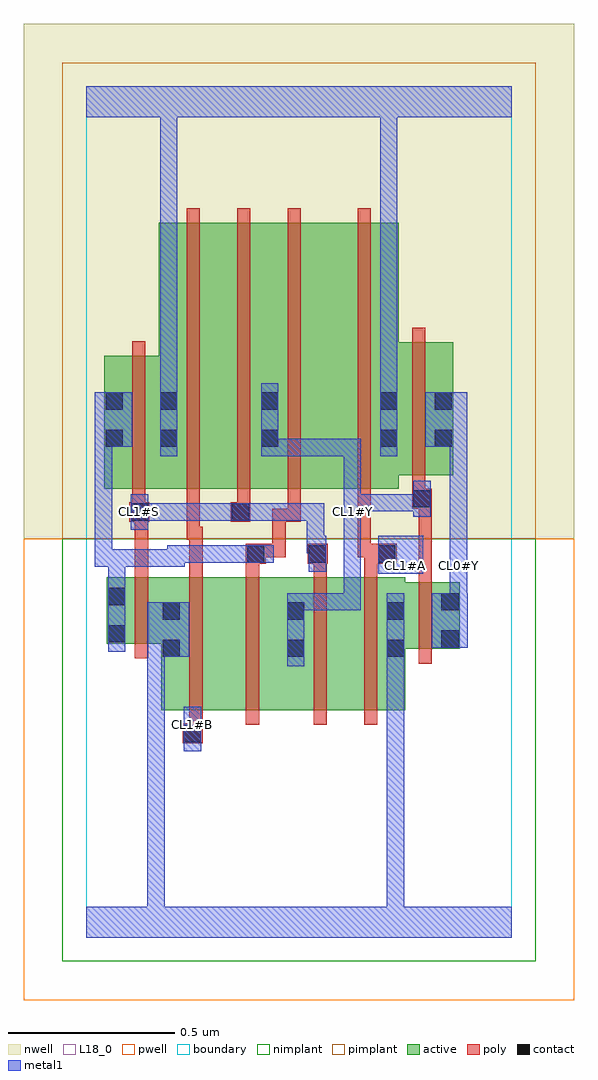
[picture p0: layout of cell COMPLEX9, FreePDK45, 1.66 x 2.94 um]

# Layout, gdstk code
import gdstk
lib = gdstk.Library(unit=1e-6, precision=1e-09)
def R(c, l, rs):  # rectangles x0, y0, x1, y1
    for r in rs: c.add(gdstk.rectangle(r[:2], r[2:], *l))
def A(c, l, x, y, w, h, nx, ny, dx, dy):  # array of equal rectangles
    R(c, l, [(x+i*dx, y+j*dy, x+i*dx+w, y+j*dy+h) for i in range(nx) for j in range(ny)])
active = (1, 0)
pwell = (2, 0)
nwell = (3, 0)
nimplant = (4, 0)
pimplant = (5, 0)
poly = (9, 0)
contact = (10, 0)
metal1 = (11, 0)
L18_0 = (18, 0)
boundary = (235, 0)

complex9 = lib.new_cell('COMPLEX9')
R(complex9, active, [(0.226,0.684,0.286,1.012), (0.226,0.684,0.424,1.084), (0.424,0.684,0.66,1.084), (0.6,0.684,0.78,1.084), (0.78,0.684,0.96,1.084), (0.9,0.684,0.96,1.012), (0.6,0.756,0.66,1.012), (0.9,0.868,1.124,1.068), (1.064,0.868,1.124,1.068), (0.062,0.884,0.122,1.084), (0.062,0.884,0.286,1.084), (0.054,1.35,0.278,1.75), (0.054,1.35,0.114,1.644), (0.218,1.35,0.398,2.15), (0.218,1.35,0.278,1.644), (0.398,1.35,0.582,2.15), (0.522,1.35,0.76,2.15), (0.522,1.35,0.582,2.044), (0.76,1.35,0.94,2.15), (0.88,1.39,0.94,1.644), (0.88,1.39,1.104,1.79), (1.044,1.39,1.104,1.644)])
R(complex9, pwell, [(-0.188,-0.188,1.468,1.2)])
R(complex9, nwell, [(-0.188,1.2,1.468,2.748)])
R(complex9, nimplant, [(-0.072,-0.072,1.352,1.2)])
R(complex9, pimplant, [(-0.072,1.2,1.352,2.632)])
A(complex9, poly, 0.302, 1.306, 0.04, 0.888, 3, 1, 0.152, 0)
R(complex9, poly, [(0.29,0.584,0.35,0.644), (0.31,0.604,0.35,0.68), (0.31,0.64,0.35,1.128), (0.48,0.64,0.52,1.128), (0.684,0.64,0.724,1.128), (0.836,0.64,0.876,1.128), (1,0.824,1.04,1.112), (0.146,0.84,0.186,1.128), (1,1.072,1.04,1.33), (0.146,1.088,0.186,1.29), (0.31,1.088,0.35,1.236), (0.48,1.088,0.52,1.164), (0.684,1.088,0.724,1.164), (0.836,1.088,0.876,1.164), (0.48,1.124,0.54,1.184), (0.666,1.124,0.726,1.184), (0.836,1.124,0.934,1.184), (0.5,1.144,0.6,1.184), (0.56,1.144,0.6,1.184), (0.56,1.144,0.6,1.29), (0.816,1.144,0.856,1.346), (0.816,1.144,0.876,1.184), (0.836,1.144,0.876,1.184), (0.302,1.196,0.342,1.346), (0.302,1.196,0.35,1.236), (0.31,1.196,0.35,1.236), (0.31,1.196,0.35,1.236), (0.13,1.25,0.19,1.31), (0.146,1.25,0.186,1.29), (0.146,1.25,0.186,1.29), (0.434,1.25,0.494,1.31), (0.56,1.25,0.6,1.29), (0.56,1.25,0.646,1.29), (0.606,1.25,0.646,1.29), (0.606,1.25,0.646,1.346), (0.138,1.27,0.178,1.346), (0.454,1.27,0.494,1.346), (0.98,1.29,1.04,1.35), (1,1.29,1.04,1.33), (1,1.29,1.04,1.33), (0.138,1.306,0.178,1.794), (0.816,1.306,0.856,2.194), (0.98,1.31,1.02,1.386), (0.98,1.346,1.02,1.834)])
R(complex9, contact, [(0.294,0.588,0.346,0.64), (0.23,0.844,0.282,0.896), (0.604,0.844,0.656,0.896), (0.904,0.844,0.956,0.896), (1.068,0.872,1.12,0.924), (0.066,0.888,0.118,0.94), (0.23,0.956,0.282,1.008), (0.604,0.956,0.656,1.008), (0.904,0.956,0.956,1.008), (1.068,0.984,1.12,1.036), (0.066,1,0.118,1.052), (0.484,1.128,0.536,1.18), (0.67,1.128,0.722,1.18), (0.878,1.128,0.93,1.18), (0.134,1.254,0.186,1.306), (0.438,1.254,0.49,1.306), (0.984,1.294,1.036,1.346), (0.058,1.476,0.11,1.528), (0.222,1.476,0.274,1.528), (0.526,1.476,0.578,1.528), (0.884,1.476,0.936,1.528), (1.048,1.476,1.1,1.528), (0.058,1.588,0.11,1.64), (0.222,1.588,0.274,1.64), (0.526,1.588,0.578,1.64), (0.884,1.588,0.936,1.64), (1.048,1.588,1.1,1.64)])
R(complex9, metal1, [(0,0,1.28,0.092), (0.184,0.04,0.236,0.092), (0.184,0.04,0.236,0.092), (0.184,0.04,0.236,0.092), (0.184,0.04,0.236,0.092), (0.184,0.04,0.236,0.092), (0.184,0.04,0.236,0.092), (0.184,0.04,0.236,0.092), (0.184,0.04,0.236,0.092), (0.184,0.04,0.236,0.092), (0.184,0.04,0.236,0.092), (0.184,0.04,0.236,0.896), (0.904,0.04,0.956,0.092), (0.904,0.04,0.956,0.092), (0.904,0.04,0.956,0.092), (0.904,0.04,0.956,0.092), (0.904,0.04,0.956,0.092), (0.904,0.04,0.956,0.092), (0.904,0.04,0.956,0.092), (0.904,0.04,0.956,0.092), (0.904,0.04,0.956,0.092), (0.904,0.04,0.956,0.092), (0.904,0.04,0.956,0.868), (0.294,0.56,0.346,0.694), (0.604,0.816,0.656,1.036), (0.904,0.816,0.956,0.868), (0.904,0.816,0.956,0.868), (0.904,0.816,0.956,1.036), (0.184,0.844,0.31,1.008), (0.184,0.844,0.236,0.896), (0.184,0.844,0.236,0.896), (0.066,0.86,0.118,1.08), (1.04,0.872,1.148,1.036), (0.604,0.984,0.674,1.036), (0.622,0.984,0.674,1.036), (0.622,0.984,0.826,1.036), (0.774,0.984,0.826,1.036), (0.774,0.984,0.826,1.278), (1.094,0.984,1.146,1.118), (0.066,1.028,0.118,1.168), (1.094,1.066,1.146,1.174), (0.878,1.094,1.014,1.208), (0.67,1.1,0.722,1.208), (0.026,1.116,0.118,1.168), (0.026,1.116,0.078,1.528), (0.066,1.116,0.118,1.168), (0.066,1.116,0.118,1.168), (0.066,1.116,0.296,1.168), (0.244,1.116,0.296,1.18), (1.094,1.122,1.146,1.528), (1.094,1.122,1.146,1.174), (1.094,1.122,1.146,1.174), (0.244,1.128,0.296,1.18), (0.244,1.128,0.296,1.18), (0.244,1.128,0.468,1.18), (0.416,1.128,0.468,1.18), (0.416,1.128,0.508,1.18), (0.456,1.128,0.564,1.18), (0.664,1.156,0.716,1.208), (0.664,1.156,0.722,1.208), (0.664,1.156,0.716,1.306), (0.134,1.226,0.186,1.334), (0.774,1.226,0.826,1.334), (0.134,1.254,0.296,1.306), (0.244,1.254,0.296,1.306), (0.244,1.254,0.296,1.306), (0.244,1.254,0.296,1.306), (0.244,1.254,0.462,1.306), (0.41,1.254,0.462,1.306), (0.41,1.254,0.462,1.306), (0.41,1.254,0.518,1.306), (0.466,1.254,0.716,1.306), (0.664,1.254,0.716,1.306), (0.984,1.266,1.036,1.374), (0.774,1.282,0.826,1.334), (0.774,1.282,0.826,1.334), (0.774,1.282,0.926,1.334), (0.774,1.282,0.826,1.5), (0.874,1.282,0.926,1.334), (0.874,1.282,0.936,1.334), (0.884,1.282,0.936,1.334), (0.884,1.282,1.036,1.334), (0.222,1.448,0.274,1.668), (0.526,1.448,0.578,1.668), (0.526,1.448,0.816,1.5), (0.764,1.448,0.816,1.5), (0.764,1.448,0.826,1.5), (0.774,1.448,0.826,1.5), (0.884,1.448,0.936,1.668), (0.026,1.476,0.078,1.528), (0.026,1.476,0.078,1.528), (0.026,1.476,0.138,1.64), (1.02,1.476,1.146,1.64), (0.222,1.616,0.274,1.668), (0.222,1.616,0.274,1.668), (0.222,1.616,0.274,1.668), (0.222,1.616,0.274,1.668), (0.222,1.616,0.274,1.668), (0.222,1.616,0.274,1.668), (0.222,1.616,0.274,1.668), (0.222,1.616,0.274,1.668), (0.222,1.616,0.274,2.52), (0.884,1.616,0.936,1.668), (0.884,1.616,0.936,1.668), (0.884,1.616,0.936,1.668), (0.884,1.616,0.936,1.668), (0.884,1.616,0.936,2.52), (0,2.468,1.28,2.56), (0.884,2.468,0.936,2.52), (0.884,2.468,0.936,2.52), (0.884,2.468,0.936,2.52), (0.884,2.468,0.936,2.52)])
R(complex9, L18_0, [(0,0,1.28,0.092), (0.184,0.04,0.236,0.092), (0.184,0.04,0.236,0.092), (0.184,0.04,0.236,0.092), (0.184,0.04,0.236,0.092), (0.184,0.04,0.236,0.092), (0.184,0.04,0.236,0.092), (0.184,0.04,0.236,0.092), (0.184,0.04,0.236,0.092), (0.184,0.04,0.236,0.092), (0.184,0.04,0.236,0.092), (0.184,0.04,0.236,0.896), (0.904,0.04,0.956,0.092), (0.904,0.04,0.956,0.092), (0.904,0.04,0.956,0.092), (0.904,0.04,0.956,0.092), (0.904,0.04,0.956,0.092), (0.904,0.04,0.956,0.092), (0.904,0.04,0.956,0.092), (0.904,0.04,0.956,0.092), (0.904,0.04,0.956,0.092), (0.904,0.04,0.956,0.092), (0.904,0.04,0.956,0.868), (0.294,0.56,0.346,0.694), (0.294,0.614,0.346,0.666), (0.604,0.816,0.656,1.036), (0.904,0.816,0.956,0.868), (0.904,0.816,0.956,0.868), (0.904,0.816,0.956,1.036), (0.184,0.844,0.236,0.896), (0.184,0.844,0.236,0.896), (0.184,0.844,0.31,1.008), (1.04,0.872,1.148,1.036), (0.604,0.984,0.674,1.036), (0.622,0.984,0.674,1.036), (0.622,0.984,0.826,1.036), (0.774,0.984,0.826,1.036), (0.774,0.984,0.826,1.278), (1.094,0.984,1.146,1.118), (1.094,1.066,1.146,1.174), (0.878,1.094,1.014,1.208), (0.934,1.094,0.986,1.146), (1.094,1.094,1.146,1.146), (0.67,1.1,0.722,1.208), (1.094,1.122,1.146,1.174), (1.094,1.122,1.146,1.174), (1.094,1.122,1.146,1.528), (0.664,1.156,0.716,1.208), (0.664,1.156,0.716,1.306), (0.664,1.156,0.722,1.208), (0.134,1.226,0.186,1.334), (0.774,1.226,0.826,1.334), (0.134,1.254,0.186,1.306), (0.134,1.254,0.296,1.306), (0.244,1.254,0.296,1.306), (0.244,1.254,0.296,1.306), (0.244,1.254,0.296,1.306), (0.244,1.254,0.462,1.306), (0.41,1.254,0.462,1.306), (0.41,1.254,0.462,1.306), (0.41,1.254,0.518,1.306), (0.466,1.254,0.716,1.306), (0.664,1.254,0.716,1.306), (0.774,1.254,0.826,1.306), (0.984,1.266,1.036,1.374), (0.774,1.282,0.826,1.334), (0.774,1.282,0.826,1.334), (0.774,1.282,0.826,1.5), (0.774,1.282,0.926,1.334), (0.874,1.282,0.926,1.334), (0.874,1.282,0.936,1.334), (0.884,1.282,0.936,1.334), (0.884,1.282,1.036,1.334), (0.222,1.448,0.274,1.668), (0.526,1.448,0.578,1.668), (0.526,1.448,0.816,1.5), (0.764,1.448,0.816,1.5), (0.764,1.448,0.826,1.5), (0.774,1.448,0.826,1.5), (0.884,1.448,0.936,1.668), (1.02,1.476,1.146,1.64), (0.222,1.616,0.274,1.668), (0.222,1.616,0.274,1.668), (0.222,1.616,0.274,1.668), (0.222,1.616,0.274,1.668), (0.222,1.616,0.274,1.668), (0.222,1.616,0.274,1.668), (0.222,1.616,0.274,1.668), (0.222,1.616,0.274,1.668), (0.222,1.616,0.274,2.52), (0.884,1.616,0.936,1.668), (0.884,1.616,0.936,1.668), (0.884,1.616,0.936,1.668), (0.884,1.616,0.936,1.668), (0.884,1.616,0.936,2.52), (0,2.468,1.28,2.56), (0.884,2.468,0.936,2.52), (0.884,2.468,0.936,2.52), (0.884,2.468,0.936,2.52), (0.884,2.468,0.936,2.52)])
R(complex9, boundary, [(0,0,1.28,2.56)])
complex9.add(gdstk.Label('CL0#Y', (1.12,1.12), layer=11, texttype=0))
complex9.add(gdstk.Label('CL1#A', (0.96,1.12), layer=11, texttype=0))
complex9.add(gdstk.Label('CL1#B', (0.32,0.64), layer=11, texttype=0))
complex9.add(gdstk.Label('CL1#S', (0.16,1.28), layer=11, texttype=0))
complex9.add(gdstk.Label('CL1#Y', (0.8,1.28), layer=11, texttype=0))

lib.write_gds('COMPLEX9.gds')
